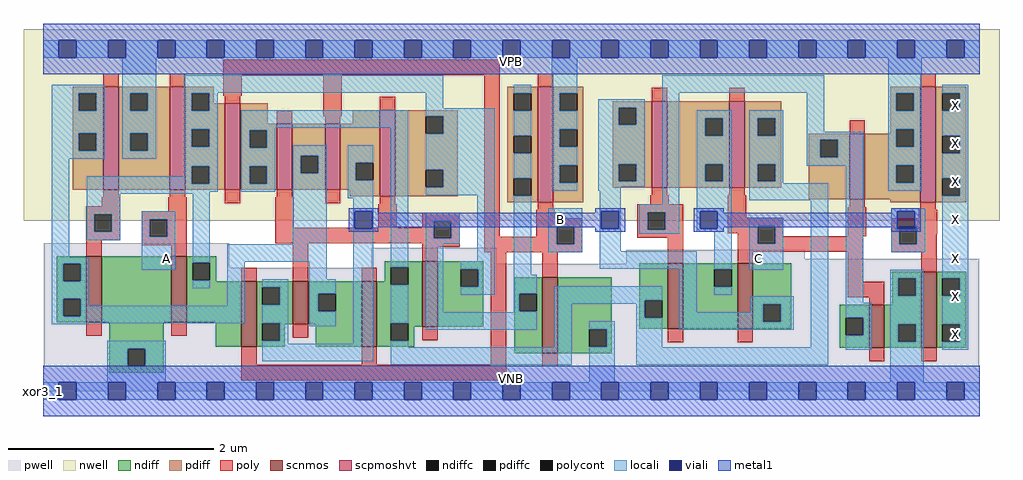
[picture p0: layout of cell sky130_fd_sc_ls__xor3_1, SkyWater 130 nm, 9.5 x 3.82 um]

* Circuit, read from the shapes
.subckt sky130_fd_sc_ls__xor3_1 A B C VGND VNB VPB VPWR X
XM1 VGND n1 n2 VNB sky130_fd_pr__nfet_01v8 w=0.64 l=0.15
XM2 n1 A VGND VNB sky130_fd_pr__nfet_01v8 w=0.64 l=0.15
XM3 n3 B n1 VNB sky130_fd_pr__nfet_01v8 w=0.64 l=0.15
XM4 n2 n4 n3 VNB sky130_fd_pr__nfet_01v8 w=0.42 l=0.15
XM5 n5 B n2 VNB sky130_fd_pr__nfet_01v8 w=0.64 l=0.15
XM6 n1 n4 n5 VNB sky130_fd_pr__nfet_01v8 w=0.64 l=0.15
XM7 VGND B n4 VNB sky130_fd_pr__nfet_01v8 w=0.74 l=0.15
XM8 n6 n7 n5 VNB sky130_fd_pr__nfet_01v8 w=0.64 l=0.15
XM9 n3 C n6 VNB sky130_fd_pr__nfet_01v8 w=0.64 l=0.15
XM10 VGND C n7 VNB sky130_fd_pr__nfet_01v8 w=0.42 l=0.15
XM11 X n6 VGND VNB sky130_fd_pr__nfet_01v8 w=0.74 l=0.15
XM12 VPWR n1 n2 VPB sky130_fd_pr__pfet_01v8_hvt w=1 l=0.15
XM13 n1 A VPWR VPB sky130_fd_pr__pfet_01v8_hvt w=1 l=0.15
XM14 n5 B n1 VPB sky130_fd_pr__pfet_01v8_hvt w=0.84 l=0.15
XM15 n2 n4 n5 VPB sky130_fd_pr__pfet_01v8_hvt w=0.64 l=0.15
XM16 n3 B n2 VPB sky130_fd_pr__pfet_01v8_hvt w=0.64 l=0.15
XM17 n1 n4 n3 VPB sky130_fd_pr__pfet_01v8_hvt w=0.84 l=0.15
XM18 VPWR B n4 VPB sky130_fd_pr__pfet_01v8_hvt w=1.12 l=0.15
XM19 n6 n7 n3 VPB sky130_fd_pr__pfet_01v8_hvt w=0.84 l=0.15
XM20 n5 C n6 VPB sky130_fd_pr__pfet_01v8_hvt w=0.84 l=0.15
XM21 VPWR C n7 VPB sky130_fd_pr__pfet_01v8_hvt w=0.64 l=0.15
XM22 X n6 VPWR VPB sky130_fd_pr__pfet_01v8_hvt w=1.12 l=0.15
.ends

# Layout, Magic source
magic
tech sky130A
magscale 1 2
<< nwell >>
rect -38 332 1862 704
<< pwell >>
rect 1 240 363 288
rect 639 248 883 279
rect 1135 258 1483 275
rect 1135 248 1823 258
rect 639 240 1823 248
rect 1 49 1823 240
rect 0 0 1824 49
<< scnmos >>
rect 84 134 114 262
rect 250 134 280 262
rect 386 86 416 214
rect 486 130 516 214
rect 620 86 650 214
rect 738 125 768 253
rect 972 74 1002 222
rect 1216 121 1246 249
rect 1352 121 1382 249
rect 1608 84 1638 168
rect 1710 84 1740 232
<< scpmoshvt >>
rect 117 392 147 592
rect 247 392 277 592
rect 354 392 384 560
rect 455 392 485 520
rect 549 392 579 520
rect 656 379 686 547
rect 963 368 993 592
rect 1185 396 1215 564
rect 1336 396 1366 564
rect 1570 373 1600 501
rect 1708 368 1738 592
<< ndiff >>
rect 27 248 84 262
rect 27 214 39 248
rect 73 214 84 248
rect 27 180 84 214
rect 27 146 39 180
rect 73 146 84 180
rect 27 134 84 146
rect 114 134 250 262
rect 280 250 337 262
rect 280 216 291 250
rect 325 216 337 250
rect 280 214 337 216
rect 665 241 738 253
rect 665 214 677 241
rect 280 134 386 214
rect 129 82 235 134
rect 336 86 386 134
rect 416 202 486 214
rect 416 168 427 202
rect 461 168 486 202
rect 416 132 486 168
rect 416 98 427 132
rect 461 130 486 132
rect 516 189 620 214
rect 516 155 536 189
rect 570 155 620 189
rect 516 130 620 155
rect 461 98 471 130
rect 416 86 471 98
rect 531 86 620 130
rect 650 207 677 214
rect 711 207 738 241
rect 650 132 738 207
rect 650 98 677 132
rect 711 125 738 132
rect 768 237 857 253
rect 768 203 813 237
rect 847 203 857 237
rect 768 125 857 203
rect 711 98 723 125
rect 650 86 723 98
rect 129 48 165 82
rect 199 48 235 82
rect 129 36 235 48
rect 917 189 972 222
rect 917 155 927 189
rect 961 155 972 189
rect 917 74 972 155
rect 1002 120 1107 222
rect 1161 177 1216 249
rect 1161 143 1171 177
rect 1205 143 1216 177
rect 1161 121 1216 143
rect 1246 237 1352 249
rect 1246 203 1307 237
rect 1341 203 1352 237
rect 1246 121 1352 203
rect 1382 169 1457 249
rect 1653 220 1710 232
rect 1382 135 1402 169
rect 1436 135 1457 169
rect 1653 186 1665 220
rect 1699 186 1710 220
rect 1653 168 1710 186
rect 1382 121 1457 135
rect 1551 143 1608 168
rect 1002 86 1063 120
rect 1097 86 1107 120
rect 1551 109 1563 143
rect 1597 109 1608 143
rect 1002 74 1107 86
rect 1551 84 1608 109
rect 1638 130 1710 168
rect 1638 96 1665 130
rect 1699 96 1710 130
rect 1638 84 1710 96
rect 1740 220 1797 232
rect 1740 186 1751 220
rect 1785 186 1797 220
rect 1740 130 1797 186
rect 1740 96 1751 130
rect 1785 96 1797 130
rect 1740 84 1797 96
<< pdiff >>
rect 58 580 117 592
rect 58 546 70 580
rect 104 546 117 580
rect 58 502 117 546
rect 58 468 70 502
rect 104 468 117 502
rect 58 392 117 468
rect 147 580 247 592
rect 147 546 170 580
rect 204 546 247 580
rect 147 502 247 546
rect 147 468 170 502
rect 204 468 247 502
rect 147 392 247 468
rect 277 580 332 592
rect 277 546 290 580
rect 324 560 332 580
rect 324 546 354 560
rect 277 510 354 546
rect 277 476 290 510
rect 324 476 354 510
rect 277 438 354 476
rect 277 404 290 438
rect 324 404 354 438
rect 277 392 354 404
rect 384 520 437 560
rect 603 520 656 547
rect 384 508 455 520
rect 384 474 402 508
rect 436 474 455 508
rect 384 438 455 474
rect 384 404 402 438
rect 436 404 455 438
rect 384 392 455 404
rect 485 458 549 520
rect 485 424 502 458
rect 536 424 549 458
rect 485 392 549 424
rect 579 444 656 520
rect 579 410 609 444
rect 643 410 656 444
rect 579 392 656 410
rect 597 379 656 392
rect 686 535 807 547
rect 686 501 745 535
rect 779 501 807 535
rect 686 431 807 501
rect 686 397 745 431
rect 779 397 807 431
rect 686 379 807 397
rect 904 580 963 592
rect 904 546 916 580
rect 950 546 963 580
rect 904 497 963 546
rect 904 463 916 497
rect 950 463 963 497
rect 904 414 963 463
rect 904 380 916 414
rect 950 380 963 414
rect 904 368 963 380
rect 993 580 1052 592
rect 993 546 1006 580
rect 1040 546 1052 580
rect 1649 580 1708 592
rect 993 510 1052 546
rect 993 476 1006 510
rect 1040 476 1052 510
rect 993 440 1052 476
rect 993 406 1006 440
rect 1040 406 1052 440
rect 993 368 1052 406
rect 1109 552 1185 564
rect 1109 518 1121 552
rect 1155 518 1185 552
rect 1109 442 1185 518
rect 1109 408 1121 442
rect 1155 408 1185 442
rect 1109 396 1185 408
rect 1215 531 1336 564
rect 1215 497 1289 531
rect 1323 497 1336 531
rect 1215 442 1336 497
rect 1215 408 1289 442
rect 1323 408 1336 442
rect 1215 396 1336 408
rect 1366 531 1437 564
rect 1366 497 1391 531
rect 1425 497 1437 531
rect 1649 546 1661 580
rect 1695 546 1708 580
rect 1649 510 1708 546
rect 1649 501 1661 510
rect 1366 442 1437 497
rect 1366 408 1391 442
rect 1425 408 1437 442
rect 1366 396 1437 408
rect 1491 489 1570 501
rect 1491 455 1513 489
rect 1547 455 1570 489
rect 1491 373 1570 455
rect 1600 476 1661 501
rect 1695 476 1708 510
rect 1600 440 1708 476
rect 1600 406 1661 440
rect 1695 406 1708 440
rect 1600 373 1708 406
rect 1649 368 1708 373
rect 1738 580 1797 592
rect 1738 546 1751 580
rect 1785 546 1797 580
rect 1738 497 1797 546
rect 1738 463 1751 497
rect 1785 463 1797 497
rect 1738 414 1797 463
rect 1738 380 1751 414
rect 1785 380 1797 414
rect 1738 368 1797 380
<< ndiffc >>
rect 39 214 73 248
rect 39 146 73 180
rect 291 216 325 250
rect 427 168 461 202
rect 427 98 461 132
rect 536 155 570 189
rect 677 207 711 241
rect 677 98 711 132
rect 813 203 847 237
rect 165 48 199 82
rect 927 155 961 189
rect 1171 143 1205 177
rect 1307 203 1341 237
rect 1402 135 1436 169
rect 1665 186 1699 220
rect 1063 86 1097 120
rect 1563 109 1597 143
rect 1665 96 1699 130
rect 1751 186 1785 220
rect 1751 96 1785 130
<< pdiffc >>
rect 70 546 104 580
rect 70 468 104 502
rect 170 546 204 580
rect 170 468 204 502
rect 290 546 324 580
rect 290 476 324 510
rect 290 404 324 438
rect 402 474 436 508
rect 402 404 436 438
rect 502 424 536 458
rect 609 410 643 444
rect 745 501 779 535
rect 745 397 779 431
rect 916 546 950 580
rect 916 463 950 497
rect 916 380 950 414
rect 1006 546 1040 580
rect 1006 476 1040 510
rect 1006 406 1040 440
rect 1121 518 1155 552
rect 1121 408 1155 442
rect 1289 497 1323 531
rect 1289 408 1323 442
rect 1391 497 1425 531
rect 1661 546 1695 580
rect 1391 408 1425 442
rect 1513 455 1547 489
rect 1661 476 1695 510
rect 1661 406 1695 440
rect 1751 546 1785 580
rect 1751 463 1785 497
rect 1751 380 1785 414
<< poly >>
rect 117 592 147 618
rect 247 592 277 618
rect 351 615 889 645
rect 351 575 387 615
rect 354 560 384 575
rect 455 520 485 546
rect 546 535 582 615
rect 656 547 686 573
rect 549 520 579 535
rect 117 377 147 392
rect 247 377 277 392
rect 114 360 150 377
rect 84 344 150 360
rect 244 350 280 377
rect 354 366 384 392
rect 455 377 485 392
rect 84 310 100 344
rect 134 310 150 344
rect 84 294 150 310
rect 192 334 280 350
rect 192 300 208 334
rect 242 300 280 334
rect 84 262 114 294
rect 192 284 280 300
rect 452 318 488 377
rect 549 366 579 392
rect 656 364 686 379
rect 653 318 689 364
rect 738 331 811 347
rect 738 318 761 331
rect 452 297 761 318
rect 795 297 811 331
rect 452 288 811 297
rect 250 262 280 284
rect 386 214 416 240
rect 486 214 516 288
rect 738 281 811 288
rect 859 300 889 615
rect 963 592 993 618
rect 1708 592 1738 618
rect 1185 564 1215 590
rect 1336 564 1366 590
rect 1570 501 1600 527
rect 1185 381 1215 396
rect 1336 381 1366 396
rect 963 353 993 368
rect 1182 364 1218 381
rect 960 336 996 353
rect 1157 348 1246 364
rect 960 320 1050 336
rect 960 300 1000 320
rect 859 286 1000 300
rect 1034 286 1050 320
rect 1157 314 1177 348
rect 1211 314 1246 348
rect 1157 298 1246 314
rect 1333 337 1369 381
rect 1570 358 1600 373
rect 1333 321 1441 337
rect 1333 307 1391 321
rect 738 253 768 281
rect 859 270 1050 286
rect 620 214 650 240
rect 84 108 114 134
rect 250 108 280 134
rect 486 104 516 130
rect 738 99 768 125
rect 386 51 416 86
rect 620 51 650 86
rect 872 51 902 270
rect 972 222 1002 270
rect 1216 249 1246 298
rect 1352 287 1391 307
rect 1425 301 1441 321
rect 1567 301 1603 358
rect 1708 353 1738 368
rect 1705 336 1741 353
rect 1651 320 1741 336
rect 1425 287 1597 301
rect 1352 271 1597 287
rect 1352 249 1382 271
rect 1567 213 1597 271
rect 1651 286 1667 320
rect 1701 306 1741 320
rect 1701 286 1740 306
rect 1651 270 1740 286
rect 1710 232 1740 270
rect 1567 183 1638 213
rect 1608 168 1638 183
rect 1216 95 1246 121
rect 1352 95 1382 121
rect 386 21 902 51
rect 972 48 1002 74
rect 1608 58 1638 84
rect 1710 58 1740 84
<< polycont >>
rect 100 310 134 344
rect 208 300 242 334
rect 761 297 795 331
rect 1000 286 1034 320
rect 1177 314 1211 348
rect 1391 287 1425 321
rect 1667 286 1701 320
<< locali >>
rect 0 649 31 683
rect 65 649 127 683
rect 161 649 223 683
rect 257 649 319 683
rect 353 649 415 683
rect 449 649 511 683
rect 545 649 607 683
rect 641 649 703 683
rect 737 649 799 683
rect 833 649 895 683
rect 929 649 991 683
rect 1025 649 1087 683
rect 1121 649 1183 683
rect 1217 649 1279 683
rect 1313 649 1375 683
rect 1409 649 1471 683
rect 1505 649 1567 683
rect 1601 649 1663 683
rect 1697 649 1759 683
rect 1793 649 1824 683
rect 17 580 120 596
rect 17 546 70 580
rect 104 546 120 580
rect 17 502 120 546
rect 17 468 70 502
rect 104 468 120 502
rect 17 452 120 468
rect 154 580 220 649
rect 154 546 170 580
rect 204 546 220 580
rect 154 502 220 546
rect 154 468 170 502
rect 204 468 220 502
rect 154 452 220 468
rect 274 581 779 615
rect 274 580 340 581
rect 274 546 290 580
rect 324 546 340 580
rect 745 551 779 581
rect 916 580 950 596
rect 274 510 340 546
rect 274 476 290 510
rect 324 476 340 510
rect 17 260 51 452
rect 274 438 340 476
rect 274 418 290 438
rect 85 404 290 418
rect 324 404 340 438
rect 85 388 340 404
rect 386 513 711 547
rect 386 508 452 513
rect 386 474 402 508
rect 436 474 452 508
rect 386 438 452 474
rect 386 404 402 438
rect 436 404 452 438
rect 386 388 452 404
rect 486 458 552 479
rect 486 424 502 458
rect 536 424 552 458
rect 85 384 325 388
rect 85 344 150 384
rect 85 310 100 344
rect 134 310 150 344
rect 85 294 150 310
rect 192 334 257 350
rect 192 300 208 334
rect 242 300 257 334
rect 17 248 89 260
rect 17 214 39 248
rect 73 214 89 248
rect 192 236 257 300
rect 291 250 325 384
rect 486 286 552 424
rect 593 444 643 479
rect 593 410 609 444
rect 593 375 643 410
rect 17 180 89 214
rect 291 200 325 216
rect 359 252 552 286
rect 17 146 39 180
rect 73 166 89 180
rect 359 166 393 252
rect 518 218 552 252
rect 604 350 643 375
rect 604 316 607 350
rect 641 316 643 350
rect 73 146 393 166
rect 17 132 393 146
rect 427 202 477 218
rect 461 168 477 202
rect 427 132 477 168
rect 17 130 89 132
rect 461 98 477 132
rect 518 189 570 218
rect 518 155 536 189
rect 518 126 570 155
rect 125 82 239 98
rect 125 48 165 82
rect 199 48 239 82
rect 427 92 477 98
rect 604 92 643 316
rect 427 58 643 92
rect 677 241 711 513
rect 745 535 879 551
rect 779 501 879 535
rect 745 431 879 501
rect 779 397 879 431
rect 745 381 879 397
rect 677 132 711 207
rect 745 331 811 347
rect 745 297 761 331
rect 795 297 811 331
rect 745 287 811 297
rect 745 153 779 287
rect 845 253 879 381
rect 813 237 879 253
rect 847 203 879 237
rect 813 187 879 203
rect 916 497 950 546
rect 916 414 950 463
rect 990 580 1040 649
rect 990 546 1006 580
rect 1205 581 1521 615
rect 990 510 1040 546
rect 990 476 1006 510
rect 990 440 1040 476
rect 990 406 1006 440
rect 990 390 1040 406
rect 1081 552 1171 568
rect 1081 518 1121 552
rect 1155 518 1171 552
rect 1081 442 1171 518
rect 1081 408 1121 442
rect 1155 408 1171 442
rect 1081 398 1171 408
rect 1081 390 1125 398
rect 916 226 950 380
rect 984 320 1050 356
rect 984 286 1000 320
rect 1034 286 1050 320
rect 984 270 1050 286
rect 1084 350 1125 390
rect 1205 364 1239 581
rect 1084 316 1087 350
rect 1121 316 1125 350
rect 1084 272 1125 316
rect 1161 348 1239 364
rect 1161 314 1177 348
rect 1211 314 1239 348
rect 1161 306 1239 314
rect 1273 531 1341 547
rect 1273 497 1289 531
rect 1323 497 1341 531
rect 1273 442 1341 497
rect 1273 408 1289 442
rect 1323 408 1341 442
rect 1273 350 1341 408
rect 1375 531 1441 547
rect 1375 497 1391 531
rect 1425 497 1441 531
rect 1375 442 1441 497
rect 1375 408 1391 442
rect 1425 408 1441 442
rect 1487 505 1521 581
rect 1645 580 1711 649
rect 1645 546 1661 580
rect 1695 546 1711 580
rect 1645 510 1711 546
rect 1487 489 1597 505
rect 1487 455 1513 489
rect 1547 455 1597 489
rect 1487 439 1597 455
rect 1375 405 1441 408
rect 1375 371 1529 405
rect 1273 316 1279 350
rect 1313 316 1341 350
rect 1273 310 1341 316
rect 1084 238 1273 272
rect 916 189 961 226
rect 916 155 927 189
rect 916 153 961 155
rect 745 119 961 153
rect 995 177 1205 204
rect 995 170 1171 177
rect 677 85 711 98
rect 995 85 1029 170
rect 1155 143 1171 170
rect 677 51 1029 85
rect 1063 120 1113 136
rect 1097 86 1113 120
rect 125 17 239 48
rect 1063 17 1113 86
rect 1155 85 1205 143
rect 1239 153 1273 238
rect 1307 237 1341 310
rect 1375 321 1441 337
rect 1375 287 1391 321
rect 1425 287 1441 321
rect 1375 236 1441 287
rect 1307 187 1341 203
rect 1377 169 1461 185
rect 1377 153 1402 169
rect 1239 135 1402 153
rect 1436 135 1461 169
rect 1239 119 1461 135
rect 1495 85 1529 371
rect 1155 51 1529 85
rect 1563 172 1597 439
rect 1645 476 1661 510
rect 1695 476 1711 510
rect 1645 440 1711 476
rect 1645 406 1661 440
rect 1695 406 1711 440
rect 1645 390 1711 406
rect 1751 580 1801 596
rect 1785 546 1801 580
rect 1751 497 1801 546
rect 1785 463 1801 497
rect 1751 414 1801 463
rect 1785 380 1801 414
rect 1651 350 1717 356
rect 1651 316 1663 350
rect 1697 320 1717 350
rect 1651 286 1667 316
rect 1701 286 1717 320
rect 1651 270 1717 286
rect 1649 220 1715 236
rect 1649 186 1665 220
rect 1699 186 1715 220
rect 1563 143 1613 172
rect 1597 109 1613 143
rect 1563 80 1613 109
rect 1649 130 1715 186
rect 1649 96 1665 130
rect 1699 96 1715 130
rect 1649 17 1715 96
rect 1751 220 1801 380
rect 1785 186 1801 220
rect 1751 130 1801 186
rect 1785 96 1801 130
rect 1751 80 1801 96
rect 0 -17 31 17
rect 65 -17 127 17
rect 161 -17 223 17
rect 257 -17 319 17
rect 353 -17 415 17
rect 449 -17 511 17
rect 545 -17 607 17
rect 641 -17 703 17
rect 737 -17 799 17
rect 833 -17 895 17
rect 929 -17 991 17
rect 1025 -17 1087 17
rect 1121 -17 1183 17
rect 1217 -17 1279 17
rect 1313 -17 1375 17
rect 1409 -17 1471 17
rect 1505 -17 1567 17
rect 1601 -17 1663 17
rect 1697 -17 1759 17
rect 1793 -17 1824 17
<< viali >>
rect 31 649 65 683
rect 127 649 161 683
rect 223 649 257 683
rect 319 649 353 683
rect 415 649 449 683
rect 511 649 545 683
rect 607 649 641 683
rect 703 649 737 683
rect 799 649 833 683
rect 895 649 929 683
rect 991 649 1025 683
rect 1087 649 1121 683
rect 1183 649 1217 683
rect 1279 649 1313 683
rect 1375 649 1409 683
rect 1471 649 1505 683
rect 1567 649 1601 683
rect 1663 649 1697 683
rect 1759 649 1793 683
rect 607 316 641 350
rect 1087 316 1121 350
rect 1279 316 1313 350
rect 1663 320 1697 350
rect 1663 316 1667 320
rect 1667 316 1697 320
rect 31 -17 65 17
rect 127 -17 161 17
rect 223 -17 257 17
rect 319 -17 353 17
rect 415 -17 449 17
rect 511 -17 545 17
rect 607 -17 641 17
rect 703 -17 737 17
rect 799 -17 833 17
rect 895 -17 929 17
rect 991 -17 1025 17
rect 1087 -17 1121 17
rect 1183 -17 1217 17
rect 1279 -17 1313 17
rect 1375 -17 1409 17
rect 1471 -17 1505 17
rect 1567 -17 1601 17
rect 1663 -17 1697 17
rect 1759 -17 1793 17
<< metal1 >>
rect 0 683 1824 715
rect 0 649 31 683
rect 65 649 127 683
rect 161 649 223 683
rect 257 649 319 683
rect 353 649 415 683
rect 449 649 511 683
rect 545 649 607 683
rect 641 649 703 683
rect 737 649 799 683
rect 833 649 895 683
rect 929 649 991 683
rect 1025 649 1087 683
rect 1121 649 1183 683
rect 1217 649 1279 683
rect 1313 649 1375 683
rect 1409 649 1471 683
rect 1505 649 1567 683
rect 1601 649 1663 683
rect 1697 649 1759 683
rect 1793 649 1824 683
rect 0 617 1824 649
rect 595 350 653 356
rect 595 316 607 350
rect 641 347 653 350
rect 1075 350 1133 356
rect 1075 347 1087 350
rect 641 319 1087 347
rect 641 316 653 319
rect 595 310 653 316
rect 1075 316 1087 319
rect 1121 316 1133 350
rect 1075 310 1133 316
rect 1267 350 1325 356
rect 1267 316 1279 350
rect 1313 347 1325 350
rect 1651 350 1709 356
rect 1651 347 1663 350
rect 1313 319 1663 347
rect 1313 316 1325 319
rect 1267 310 1325 316
rect 1651 316 1663 319
rect 1697 316 1709 350
rect 1651 310 1709 316
rect 0 17 1824 49
rect 0 -17 31 17
rect 65 -17 127 17
rect 161 -17 223 17
rect 257 -17 319 17
rect 353 -17 415 17
rect 449 -17 511 17
rect 545 -17 607 17
rect 641 -17 703 17
rect 737 -17 799 17
rect 833 -17 895 17
rect 929 -17 991 17
rect 1025 -17 1087 17
rect 1121 -17 1183 17
rect 1217 -17 1279 17
rect 1313 -17 1375 17
rect 1409 -17 1471 17
rect 1505 -17 1567 17
rect 1601 -17 1663 17
rect 1697 -17 1759 17
rect 1793 -17 1824 17
rect 0 -49 1824 -17
<< labels >>
rlabel comment s 0 0 0 0 4 xor3_1
flabel pwell s 0 0 1824 49 0 FreeSans 200 0 0 0 VNB
port 5 nsew ground bidirectional
flabel nwell s 0 617 1824 666 0 FreeSans 200 0 0 0 VPB
port 6 nsew power bidirectional
flabel metal1 s 0 617 1824 666 0 FreeSans 340 0 0 0 VPWR
port 7 nsew power bidirectional abutment
flabel metal1 s 0 0 1824 49 0 FreeSans 340 0 0 0 VGND
port 4 nsew ground bidirectional abutment
flabel locali s 991 316 1025 350 0 FreeSans 340 0 0 0 B
port 2 nsew signal input
flabel locali s 1375 242 1409 276 0 FreeSans 340 0 0 0 C
port 3 nsew signal input
flabel locali s 223 242 257 276 0 FreeSans 340 0 0 0 A
port 1 nsew signal input
flabel locali s 1759 94 1793 128 0 FreeSans 340 0 0 0 X
port 8 nsew signal output
flabel locali s 1759 168 1793 202 0 FreeSans 340 0 0 0 X
port 8 nsew signal output
flabel locali s 1759 242 1793 276 0 FreeSans 340 0 0 0 X
port 8 nsew signal output
flabel locali s 1759 316 1793 350 0 FreeSans 340 0 0 0 X
port 8 nsew signal output
flabel locali s 1759 390 1793 424 0 FreeSans 340 0 0 0 X
port 8 nsew signal output
flabel locali s 1759 464 1793 498 0 FreeSans 340 0 0 0 X
port 8 nsew signal output
flabel locali s 1759 538 1793 572 0 FreeSans 340 0 0 0 X
port 8 nsew signal output
<< properties >>
string LEFsite unit
string LEFclass CORE
string FIXED_BBOX 0 0 1824 666
string GDS_FILE $PDKPATH/libs.ref/sky130_fd_sc_ls/gds/sky130_fd_sc_ls.gds
string LEFsymmetry X Y
string GDS_END 2609210
string GDS_START 2595426
<< end >>
